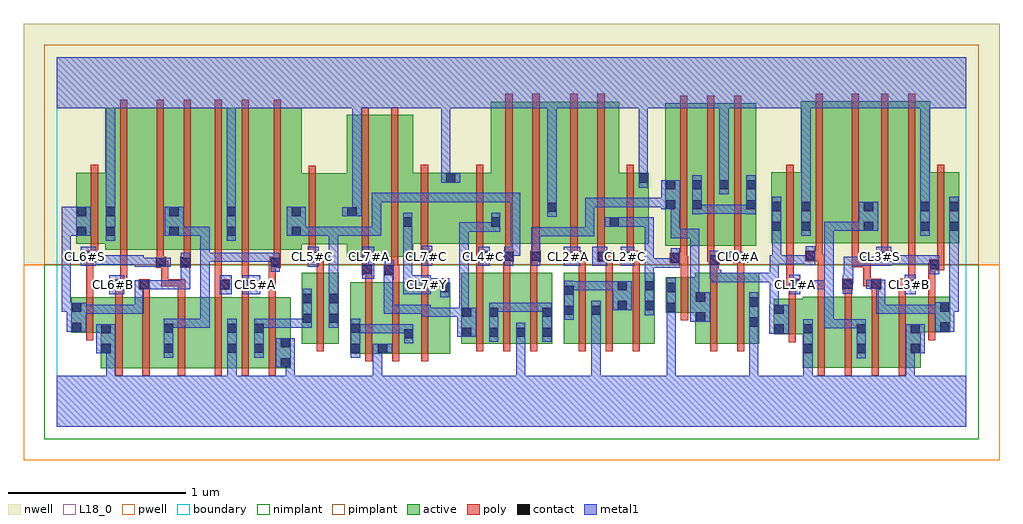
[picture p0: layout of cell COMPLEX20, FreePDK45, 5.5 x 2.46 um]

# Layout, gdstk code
import gdstk
lib = gdstk.Library(unit=1e-6, precision=1e-09)
def R(c, l, rs):  # rectangles x0, y0, x1, y1
    for r in rs: c.add(gdstk.rectangle(r[:2], r[2:], *l))
def A(c, l, x, y, w, h, nx, ny, dx, dy):  # array of equal rectangles
    R(c, l, [(x+i*dx, y+j*dy, x+i*dx+w, y+j*dy+h) for i in range(nx) for j in range(ny)])
active = (1, 0)
pwell = (2, 0)
nwell = (3, 0)
nimplant = (4, 0)
pimplant = (5, 0)
poly = (9, 0)
contact = (10, 0)
metal1 = (11, 0)
L18_0 = (18, 0)
boundary = (235, 0)

complex20 = lib.new_cell('COMPLEX20')
A(complex20, active, 2.278, 0.468, 0.06, 0.4, 3, 1, 0.152, 0)
R(complex20, active, [(0.246,0.33,0.306,0.73), (0.246,0.33,0.426,0.73), (0.426,0.33,0.658,0.73), (0.598,0.33,0.778,0.73), (0.778,0.33,1.016,0.73), (0.956,0.33,1.016,0.584), (0.956,0.33,1.168,0.73), (1.108,0.33,1.316,0.73), (1.256,0.33,1.316,0.73), (4.2,0.332,4.38,0.732), (4.2,0.332,4.26,0.72), (4.38,0.332,4.56,0.732), (4.5,0.332,4.684,0.732), (4.684,0.332,4.864,0.732), (4.804,0.332,4.864,0.732), (0.598,0.356,0.658,0.584), (1.108,0.356,1.168,0.584), (4.5,0.356,4.56,0.582), (1.652,0.412,1.712,0.812), (1.652,0.412,1.864,0.812), (1.804,0.412,2.012,0.812), (1.804,0.412,1.864,0.474), (1.952,0.412,2.214,0.812), (1.38,0.468,1.44,0.868), (1.38,0.468,1.588,0.868), (1.528,0.468,1.588,0.868), (1.952,0.468,2.012,0.554), (2.154,0.468,2.214,0.812), (2.278,0.468,2.49,0.868), (2.43,0.468,2.642,0.868), (2.582,0.468,2.79,0.868), (2.73,0.468,2.79,0.868), (2.854,0.468,2.914,0.868), (2.854,0.468,3.066,0.868), (3.006,0.468,3.066,0.868), (3.006,0.468,3.214,0.868), (3.154,0.468,3.214,0.868), (3.154,0.468,3.366,0.868), (3.306,0.468,3.366,0.868), (3.594,0.468,3.774,0.868), (3.774,0.468,3.954,0.868), (3.894,0.468,3.954,0.868), (4.036,0.52,4.096,0.72), (4.036,0.52,4.26,0.72), (0.08,0.53,0.14,0.73), (0.08,0.53,0.306,0.73), (4.804,0.532,5.03,0.732), (4.97,0.532,5.03,0.732), (3.594,0.588,3.654,0.842), (3.43,0.642,3.49,0.842), (3.43,0.642,3.654,0.842), (1.632,0.956,1.812,1.756), (1.812,0.956,2.006,1.756), (0.272,0.996,0.506,1.796), (0.506,0.996,0.69,1.796), (0.63,0.996,0.81,1.796), (0.63,0.996,0.69,1.724), (0.81,0.996,1.012,1.796), (0.952,0.996,1.164,1.796), (0.952,0.996,1.012,1.756), (1.164,0.996,1.378,1.796), (3.426,1.02,3.486,1.724), (3.426,1.02,3.634,1.82), (3.574,1.02,3.786,1.82), (3.726,1.02,3.938,1.82), (3.878,1.02,3.938,1.724), (1.318,1.026,1.692,1.426), (1.318,1.026,1.378,1.724), (1.632,1.026,1.692,1.356), (0.108,1.03,0.168,1.43), (0.108,1.03,0.332,1.43), (0.272,1.03,0.332,1.356), (1.946,1.03,2.006,1.62), (1.946,1.03,2.248,1.43), (2.188,1.03,2.248,1.43), (2.188,1.03,2.502,1.43), (2.442,1.03,2.622,1.83), (2.622,1.03,2.818,1.83), (2.758,1.03,2.988,1.83), (2.758,1.03,2.818,1.756), (2.988,1.03,3.168,1.83), (3.108,1.03,3.332,1.43), (3.108,1.03,3.168,1.62), (3.272,1.03,3.332,1.43), (4.024,1.032,4.248,1.432), (4.024,1.032,4.084,1.356), (4.188,1.032,4.248,1.356), (4.188,1.032,4.42,1.832), (4.42,1.032,4.6,1.832), (4.54,1.032,4.738,1.832), (4.54,1.032,4.6,1.724), (4.738,1.032,4.918,1.832), (4.858,1.032,5.082,1.432), (4.858,1.032,4.918,1.356), (5.022,1.032,5.082,1.432), (2.442,1.122,2.502,1.62), (3.574,1.206,3.634,1.724), (3.726,1.206,3.786,1.756)])
R(complex20, pwell, [(-0.188,-0.188,5.308,0.912)])
R(complex20, nwell, [(-0.188,0.912,5.308,2.268)])
R(complex20, nimplant, [(-0.072,-0.072,5.192,0.912)])
R(complex20, pimplant, [(-0.072,0.912,5.192,2.152)])
A(complex20, poly, 0.888, 0.286, 0.04, 0.488, 3, 1, 0.152, 0)
A(complex20, poly, 4.284, 0.288, 0.04, 0.488, 4, 1, 0.152, 0)
A(complex20, poly, 2.362, 0.424, 0.04, 0.488, 3, 1, 0.152, 0)
A(complex20, poly, 2.938, 0.424, 0.04, 0.488, 3, 1, 0.152, 0)
A(complex20, poly, 4.436, 0.736, 0.04, 0.076, 3, 1, 0.152, 0)
A(complex20, poly, 2.362, 0.872, 0.04, 0.098, 3, 1, 0.152, 0)
A(complex20, poly, 2.938, 0.872, 0.04, 0.098, 3, 1, 0.152, 0)
A(complex20, poly, 2.892, 0.93, 0.086, 0.06, 3, 1, 0.152, 0)
A(complex20, poly, 3.51, 0.976, 0.04, 0.888, 3, 1, 0.152, 0)
R(complex20, poly, [(0.33,0.286,0.37,0.774), (0.482,0.286,0.522,0.774), (0.682,0.286,0.722,0.774), (1.736,0.368,1.776,0.856), (1.888,0.368,1.928,0.856), (2.052,0.368,2.092,0.856), (1.464,0.424,1.504,0.912), (3.678,0.424,3.718,0.912), (3.83,0.424,3.87,0.912), (4.12,0.476,4.16,0.764), (0.166,0.486,0.206,0.774), (4.906,0.488,4.946,0.776), (3.514,0.598,3.554,0.886), (4.12,0.724,4.16,0.812), (0.166,0.734,0.206,0.97), (0.33,0.734,0.37,0.81), (0.482,0.734,0.522,0.81), (0.682,0.734,0.722,0.83), (0.888,0.734,0.928,0.81), (1.04,0.734,1.08,0.81), (1.192,0.734,1.232,0.936), (4.284,0.736,4.324,0.972), (4.906,0.736,4.946,0.922), (0.324,0.77,0.384,0.83), (0.462,0.77,0.522,0.83), (0.888,0.77,0.974,0.83), (1.04,0.77,1.1,0.83), (4.108,0.772,4.18,0.832), (4.422,0.772,4.482,0.832), (4.582,0.772,4.642,0.832), (4.74,0.772,4.83,0.832), (0.344,0.79,0.384,0.83), (0.344,0.79,0.396,0.83), (0.356,0.79,0.396,0.992), (0.588,0.79,0.628,0.83), (0.588,0.79,0.628,0.936), (0.588,0.79,0.722,0.83), (0.682,0.79,0.722,0.83), (0.888,0.79,0.928,0.83), (0.888,0.79,0.928,0.83), (0.888,0.79,0.928,0.992), (1.04,0.79,1.08,0.83), (1.04,0.79,1.08,0.83), (1.04,0.79,1.08,0.992), (4.108,0.792,4.148,0.832), (4.108,0.792,4.148,0.832), (4.108,0.792,4.148,1.028), (4.542,0.792,4.582,0.832), (4.542,0.792,4.622,0.832), (4.542,0.792,4.582,0.938), (4.79,0.792,4.83,0.832), (4.79,0.792,4.834,0.832), (4.794,0.792,4.834,1.028), (1.736,0.816,1.776,0.896), (1.888,0.816,1.928,0.892), (2.052,0.816,2.092,0.97), (3.514,0.846,3.554,0.96), (1.842,0.852,1.928,0.912), (1.716,0.856,1.776,0.916), (1.464,0.872,1.504,0.966), (1.882,0.872,1.922,0.912), (1.882,0.872,1.922,0.912), (1.882,0.872,1.922,0.952), (3.678,0.872,3.718,0.948), (3.83,0.872,3.87,0.96), (1.716,0.876,1.756,0.916), (1.716,0.876,1.756,0.916), (1.716,0.876,1.756,0.952), (4.906,0.882,4.952,0.922), (4.912,0.882,4.952,0.922), (4.912,0.882,4.998,0.942), (0.556,0.896,0.616,0.956), (0.576,0.896,0.628,0.936), (0.588,0.896,0.628,0.936), (0.694,0.896,0.754,0.956), (1.192,0.896,1.24,0.936), (1.2,0.896,1.24,0.936), (1.2,0.896,1.26,0.956), (4.476,0.898,4.516,0.938), (4.476,0.898,4.582,0.938), (4.476,0.898,4.516,1.028), (4.542,0.898,4.582,0.938), (4.958,0.902,4.998,1.028), (3.672,0.908,3.732,0.968), (1.716,0.912,1.756,1.8), (1.882,0.912,1.922,1.8), (0.562,0.916,0.602,0.992), (0.714,0.916,0.754,0.992), (1.22,0.916,1.26,0.992), (3.452,0.92,3.55,0.98), (3.51,0.92,3.55,0.96), (3.51,0.92,3.554,0.96), (3.81,0.92,3.87,0.98), (3.83,0.92,3.87,0.96), (3.83,0.92,3.87,0.96), (1.418,0.926,1.478,0.986), (1.438,0.926,1.478,0.966), (1.438,0.926,1.504,0.966), (3.662,0.928,3.702,1.016), (3.662,0.928,3.712,0.968), (3.672,0.928,3.712,0.968), (0.166,0.93,0.206,0.97), (0.166,0.93,0.206,0.97), (0.166,0.93,0.232,0.99), (2.05,0.93,2.11,0.99), (2.052,0.93,2.092,0.97), (2.052,0.93,2.092,0.97), (2.362,0.93,2.43,0.99), (2.514,0.93,2.554,0.97), (2.514,0.93,2.554,0.97), (2.514,0.93,2.574,0.99), (2.666,0.93,2.706,0.97), (2.666,0.93,2.706,0.97), (2.666,0.93,2.726,0.99), (4.642,0.93,4.702,0.99), (4.214,0.932,4.312,0.992), (4.272,0.932,4.312,0.972), (4.272,0.932,4.324,0.972), (3.51,0.94,3.55,1.016), (3.814,0.94,3.854,1.016), (1.418,0.946,1.458,1.022), (0.192,0.95,0.232,1.026), (2.05,0.95,2.09,1.026), (2.362,0.95,2.402,0.99), (2.362,0.95,2.402,0.99), (2.362,0.95,2.402,1.026), (2.526,0.95,2.566,1.026), (2.678,0.95,2.718,1.026), (2.892,0.95,2.932,0.99), (2.892,0.95,2.932,0.99), (2.892,0.95,2.932,1.026), (3.044,0.95,3.084,0.99), (3.044,0.95,3.084,0.99), (3.044,0.95,3.084,1.026), (3.208,0.95,3.248,0.99), (3.208,0.95,3.248,0.99), (3.208,0.95,3.248,1.026), (4.642,0.95,4.682,1.028), (0.356,0.952,0.396,1.84), (0.562,0.952,0.602,1.84), (0.714,0.952,0.754,1.84), (0.888,0.952,0.928,1.84), (1.04,0.952,1.08,1.84), (1.22,0.952,1.26,1.84), (4.272,0.952,4.312,1.028), (1.418,0.982,1.458,1.47), (0.192,0.986,0.232,1.474), (2.05,0.986,2.09,1.474), (2.362,0.986,2.402,1.474), (2.526,0.986,2.566,1.874), (2.678,0.986,2.718,1.874), (2.892,0.986,2.932,1.874), (3.044,0.986,3.084,1.874), (3.208,0.986,3.248,1.474), (4.108,0.988,4.148,1.476), (4.272,0.988,4.312,1.876), (4.476,0.988,4.516,1.876), (4.642,0.988,4.682,1.876), (4.794,0.988,4.834,1.876), (4.958,0.988,4.998,1.476)])
A(complex20, contact, 2.282, 0.506, 0.052, 0.052, 3, 1, 0.152, 0)
A(complex20, contact, 2.896, 0.934, 0.052, 0.052, 3, 1, 0.152, 0)
A(complex20, contact, 3.578, 1.336, 0.052, 0.052, 3, 1, 0.152, 0)
R(complex20, contact, [(1.26,0.334,1.312,0.386), (0.25,0.414,0.302,0.466), (4.204,0.414,4.256,0.466), (4.504,0.414,4.556,0.466), (4.808,0.414,4.86,0.466), (0.602,0.416,0.654,0.468), (0.96,0.416,1.012,0.468), (1.112,0.416,1.164,0.468), (1.656,0.416,1.708,0.468), (1.808,0.416,1.86,0.468), (1.26,0.446,1.312,0.498), (1.956,0.498,2.008,0.55), (2.734,0.506,2.786,0.558), (4.04,0.524,4.092,0.576), (0.25,0.526,0.302,0.578), (4.204,0.526,4.256,0.578), (4.504,0.526,4.556,0.578), (4.808,0.526,4.86,0.578), (0.602,0.528,0.654,0.58), (0.96,0.528,1.012,0.58), (1.112,0.528,1.164,0.58), (1.656,0.528,1.708,0.58), (0.084,0.534,0.136,0.586), (4.974,0.536,5.026,0.588), (3.898,0.564,3.95,0.616), (1.384,0.584,1.436,0.636), (1.532,0.584,1.584,0.636), (3.598,0.592,3.65,0.644), (2.282,0.618,2.334,0.67), (2.434,0.618,2.486,0.67), (2.734,0.618,2.786,0.67), (2.858,0.63,2.91,0.682), (3.01,0.63,3.062,0.682), (4.04,0.636,4.092,0.688), (0.084,0.646,0.136,0.698), (3.434,0.646,3.486,0.698), (4.974,0.648,5.026,0.7), (3.158,0.656,3.21,0.708), (3.31,0.656,3.362,0.708), (3.898,0.676,3.95,0.728), (1.384,0.696,1.436,0.748), (1.532,0.696,1.584,0.748), (3.598,0.704,3.65,0.756), (2.858,0.742,2.91,0.794), (2.158,0.756,2.21,0.808), (3.434,0.758,3.486,0.81), (3.158,0.768,3.21,0.82), (3.31,0.768,3.362,0.82), (0.328,0.774,0.38,0.826), (0.466,0.774,0.518,0.826), (0.918,0.774,0.97,0.826), (1.044,0.774,1.096,0.826), (4.124,0.776,4.176,0.828), (4.426,0.776,4.478,0.828), (4.586,0.776,4.638,0.828), (4.774,0.776,4.826,0.828), (1.846,0.856,1.898,0.908), (1.72,0.86,1.772,0.912), (4.916,0.886,4.968,0.938), (0.56,0.9,0.612,0.952), (0.698,0.9,0.75,0.952), (1.204,0.9,1.256,0.952), (3.676,0.912,3.728,0.964), (3.456,0.924,3.508,0.976), (3.814,0.924,3.866,0.976), (1.422,0.93,1.474,0.982), (0.17,0.934,0.222,0.986), (2.054,0.934,2.106,0.986), (2.374,0.934,2.426,0.986), (2.518,0.934,2.57,0.986), (2.67,0.934,2.722,0.986), (4.646,0.934,4.698,0.986), (4.218,0.936,4.27,0.988), (0.112,1.074,0.164,1.126), (0.276,1.074,0.328,1.126), (0.634,1.074,0.686,1.126), (0.956,1.074,1.008,1.126), (1.322,1.074,1.374,1.126), (4.028,1.102,4.08,1.154), (4.192,1.102,4.244,1.154), (4.544,1.102,4.596,1.154), (4.862,1.102,4.914,1.154), (5.026,1.102,5.078,1.154), (1.95,1.126,2.002,1.178), (2.446,1.126,2.498,1.178), (3.112,1.126,3.164,1.178), (1.636,1.184,1.688,1.236), (0.112,1.186,0.164,1.238), (0.276,1.186,0.328,1.238), (0.634,1.186,0.686,1.238), (0.956,1.186,1.008,1.238), (1.322,1.186,1.374,1.238), (2.762,1.21,2.814,1.262), (4.028,1.214,4.08,1.266), (4.192,1.214,4.244,1.266), (4.544,1.214,4.596,1.266), (4.862,1.214,4.914,1.266), (5.026,1.214,5.078,1.266), (3.43,1.224,3.482,1.276), (3.578,1.224,3.63,1.276), (3.882,1.224,3.934,1.276), (3.43,1.336,3.482,1.388), (2.192,1.374,2.244,1.426), (3.276,1.374,3.328,1.426)])
R(complex20, metal1, [(0,0,5.12,0.288), (0.278,0.236,0.33,0.466), (0.96,0.236,1.012,0.44), (1.288,0.236,1.34,0.288), (1.288,0.236,1.34,0.288), (1.288,0.236,1.34,0.386), (1.78,0.236,1.832,0.468), (2.586,0.236,2.638,0.53), (3.01,0.236,3.062,0.288), (3.01,0.236,3.062,0.288), (3.01,0.236,3.062,0.654), (3.434,0.236,3.486,0.288), (3.434,0.236,3.486,0.288), (3.434,0.236,3.486,0.288), (3.434,0.236,3.486,0.288), (3.434,0.236,3.486,0.288), (3.434,0.236,3.486,0.288), (3.434,0.236,3.486,0.67), (3.898,0.236,3.95,0.588), (4.204,0.236,4.256,0.288), (4.204,0.236,4.256,0.288), (4.204,0.236,4.256,0.438), (4.78,0.236,4.832,0.466), (1.232,0.334,1.34,0.498), (4.204,0.386,4.256,0.606), (4.504,0.386,4.556,0.606), (0.602,0.388,0.654,0.608), (0.96,0.388,1.012,0.44), (0.96,0.388,1.012,0.44), (0.96,0.388,1.012,0.608), (1.112,0.388,1.164,0.608), (1.656,0.388,1.708,0.608), (0.222,0.414,0.33,0.578), (0.278,0.414,0.33,0.466), (0.278,0.414,0.33,0.466), (4.78,0.414,4.832,0.466), (4.78,0.414,4.832,0.466), (4.78,0.414,4.888,0.578), (1.78,0.416,1.832,0.468), (1.78,0.416,1.832,0.468), (1.78,0.416,1.888,0.468), (1.956,0.47,2.008,0.578), (2.434,0.478,2.486,0.698), (2.586,0.478,2.638,0.53), (2.586,0.478,2.638,0.53), (2.586,0.478,2.638,0.586), (2.734,0.478,2.786,0.698), (2.254,0.506,2.362,0.67), (4.012,0.524,4.12,0.688), (1.656,0.526,1.708,0.578), (1.656,0.526,1.708,0.578), (1.656,0.526,1.892,0.578), (1.84,0.526,1.892,0.578), (1.84,0.526,1.896,0.578), (1.844,0.526,1.896,0.578), (1.844,0.526,2.008,0.578), (0.056,0.534,0.164,0.698), (3.898,0.536,3.95,0.588), (3.898,0.536,3.95,0.588), (3.898,0.536,3.95,0.756), (4.946,0.536,5.054,0.7), (4.322,0.554,4.374,0.606), (4.322,0.554,4.5,0.606), (4.322,0.554,4.374,0.826), (4.448,0.554,4.5,0.606), (4.448,0.554,4.556,0.606), (0.602,0.556,0.86,0.608), (0.808,0.556,0.86,0.608), (0.808,0.556,0.86,0.608), (0.808,0.556,0.86,0.608), (0.808,0.556,0.86,0.98), (1.112,0.556,1.206,0.608), (1.154,0.556,1.206,0.608), (1.154,0.556,1.274,0.608), (1.222,0.556,1.274,0.608), (1.222,0.556,1.436,0.608), (1.384,0.556,1.436,0.776), (1.532,0.556,1.584,0.776), (3.566,0.592,3.678,0.756), (2.858,0.602,2.91,0.822), (3.01,0.602,3.062,0.71), (2.054,0.618,2.106,0.688), (2.054,0.618,2.306,0.67), (2.254,0.618,2.306,0.67), (2.254,0.618,2.306,0.67), (2.266,0.618,2.318,1.15), (3.434,0.618,3.486,0.838), (3.31,0.628,3.362,0.848), (0.112,0.636,0.164,0.688), (0.112,0.636,0.164,0.688), (0.112,0.636,0.332,0.688), (0.28,0.636,0.332,0.688), (0.28,0.636,0.332,0.688), (0.28,0.636,0.332,0.688), (0.28,0.636,0.49,0.688), (0.438,0.636,0.49,0.688), (0.438,0.636,0.49,0.826), (1.842,0.636,1.894,0.688), (1.842,0.636,1.896,0.688), (1.842,0.636,1.894,0.88), (1.844,0.636,1.896,0.688), (1.844,0.636,2.1,0.688), (2.048,0.636,2.1,0.688), (2.048,0.636,2.1,0.688), (2.048,0.636,2.1,0.688), (2.048,0.636,2.106,0.688), (4.014,0.636,4.066,0.866), (4.614,0.636,4.666,0.688), (4.614,0.636,4.858,0.688), (4.614,0.636,4.666,0.828), (4.806,0.636,4.858,0.688), (4.806,0.636,4.858,0.688), (4.806,0.636,4.858,0.688), (4.806,0.636,4.998,0.688), (4.946,0.636,4.998,0.688), (4.946,0.636,4.998,0.688), (0.026,0.646,0.078,1.126), (0.026,0.646,0.108,0.698), (0.056,0.646,0.108,0.698), (2.434,0.646,2.612,0.698), (2.56,0.646,2.612,0.698), (2.56,0.646,2.612,0.698), (2.56,0.646,2.612,0.698), (2.56,0.646,2.786,0.698), (2.734,0.646,2.786,0.698), (2.734,0.646,2.786,0.698), (5.002,0.648,5.054,0.7), (5.002,0.648,5.078,0.7), (5.026,0.648,5.078,1.126), (3.13,0.656,3.238,0.82), (3.566,0.704,3.618,1.114), (1.532,0.724,1.584,0.776), (1.532,0.724,1.584,0.776), (1.532,0.724,1.584,1.126), (2.158,0.728,2.21,0.836), (0.294,0.746,0.38,0.854), (0.918,0.746,0.986,0.854), (1.044,0.746,1.146,0.854), (1.95,0.746,2.106,0.854), (4.124,0.746,4.186,0.856), (4.774,0.746,4.836,0.856), (4.426,0.748,4.478,0.856), (2.858,0.768,2.91,0.82), (2.858,0.768,2.91,0.82), (2.858,0.768,3.02,0.82), (2.968,0.768,3.02,0.82), (2.968,0.768,3.02,0.82), (2.968,0.768,3.02,0.82), (2.968,0.768,3.182,0.82), (0.438,0.774,0.49,0.826), (0.438,0.774,0.49,0.826), (0.438,0.774,0.546,0.826), (0.494,0.774,0.75,0.826), (0.698,0.774,0.75,0.826), (0.698,0.774,0.75,0.924), (4.266,0.774,4.374,0.826), (4.322,0.774,4.374,0.826), (4.322,0.774,4.374,0.826), (4.322,0.774,4.374,1.154), (4.558,0.776,4.666,0.828), (4.614,0.776,4.666,0.828), (4.614,0.776,4.666,0.828), (2.054,0.784,2.106,0.836), (2.054,0.784,2.106,0.836), (2.054,0.784,2.21,0.836), (2.158,0.784,2.21,0.836), (2.158,0.784,2.21,0.836), (3.31,0.796,3.362,0.848), (3.31,0.796,3.362,0.848), (3.31,0.796,3.362,0.948), (1.95,0.802,2.002,0.854), (1.95,0.802,2.002,0.854), (1.95,0.802,2.002,1.15), (4.426,0.804,4.484,0.856), (4.432,0.804,4.484,0.856), (4.432,0.804,4.484,0.958), (3.688,0.814,3.954,0.866), (3.688,0.814,3.74,0.884), (3.902,0.814,3.954,0.866), (3.902,0.814,3.954,0.866), (3.902,0.814,3.954,0.866), (3.902,0.814,4.066,0.866), (4.014,0.814,4.066,0.866), (4.014,0.814,4.066,0.966), (1.842,0.828,1.894,0.88), (1.842,0.828,1.898,0.88), (1.846,0.828,1.898,0.936), (1.72,0.832,1.786,1.014), (3.676,0.832,3.74,0.884), (3.676,0.832,3.728,0.992), (4.916,0.858,4.968,0.966), (0.698,0.872,0.75,0.924), (0.698,0.872,0.75,0.924), (0.698,0.872,0.75,0.98), (1.204,0.872,1.256,0.98), (3.31,0.896,3.362,0.948), (3.31,0.896,3.508,0.948), (3.31,0.896,3.362,1.178), (3.456,0.896,3.508,0.948), (3.456,0.896,3.508,0.948), (3.456,0.896,3.508,1.004), (0.438,0.9,0.584,0.952), (0.438,0.9,0.49,0.964), (0.532,0.9,0.64,0.952), (1.414,0.902,1.474,1.014), (0.134,0.906,0.222,1.014), (2.054,0.906,2.114,1.018), (2.374,0.906,2.438,1.014), (2.518,0.906,2.57,1.014), (2.67,0.906,2.722,1.014), (2.854,0.906,2.948,1.014), (3.014,0.906,3.1,1.014), (3.174,0.906,3.252,1.014), (4.432,0.906,4.484,0.958), (4.432,0.906,4.666,0.958), (4.614,0.906,4.698,1.014), (4.218,0.908,4.27,1.016), (0.17,0.912,0.38,0.964), (0.328,0.912,0.38,0.964), (0.328,0.912,0.38,0.964), (0.328,0.912,0.38,0.964), (0.328,0.912,0.49,0.964), (4.014,0.914,4.08,0.966), (4.028,0.914,4.08,0.966), (4.028,0.914,4.08,0.966), (4.028,0.914,4.19,0.966), (4.028,0.914,4.08,1.126), (4.138,0.914,4.19,0.966), (4.138,0.914,4.27,0.966), (4.646,0.914,4.698,0.966), (4.646,0.914,4.698,0.966), (4.646,0.914,4.808,0.966), (4.756,0.914,4.808,0.966), (4.756,0.914,4.808,0.966), (4.756,0.914,4.808,0.966), (4.756,0.914,4.968,0.966), (3.786,0.924,3.894,0.986), (0.808,0.928,0.86,0.98), (0.808,0.928,0.86,0.98), (0.808,0.928,0.86,0.98), (0.808,0.928,0.986,0.98), (0.808,0.928,0.86,1.126), (0.934,0.928,0.986,0.98), (0.934,0.928,0.986,0.98), (0.934,0.928,0.986,0.98), (0.934,0.928,1.096,0.98), (1.044,0.928,1.096,0.98), (1.044,0.928,1.096,0.98), (1.044,0.928,1.096,0.98), (1.044,0.928,1.256,0.98), (2.518,0.962,2.608,1.014), (2.556,0.962,2.608,1.014), (2.556,0.962,2.608,1.316), (2.67,0.962,2.722,1.014), (2.67,0.962,2.722,1.124), (0.276,1.046,0.328,1.266), (0.956,1.046,1.008,1.266), (3.456,1.062,3.508,1.114), (3.456,1.062,3.508,1.114), (3.456,1.062,3.508,1.114), (3.456,1.062,3.618,1.114), (3.456,1.062,3.508,1.276), (3.566,1.062,3.618,1.114), (3.566,1.062,3.618,1.114), (3.566,1.062,3.618,1.114), (3.566,1.062,3.618,1.114), (3.566,1.062,3.618,1.114), (2.67,1.072,2.91,1.124), (2.858,1.072,2.91,1.124), (2.858,1.072,2.91,1.124), (2.858,1.072,2.91,1.124), (2.858,1.072,3.026,1.124), (2.974,1.072,3.026,1.124), (2.974,1.072,3.026,1.124), (2.974,1.072,3.026,1.124), (2.974,1.072,3.026,1.288), (0.026,1.074,0.078,1.126), (0.026,1.074,0.078,1.126), (0.026,1.074,0.192,1.238), (0.606,1.074,0.714,1.238), (0.662,1.074,0.86,1.126), (0.808,1.074,0.86,1.126), (0.808,1.074,0.86,1.126), (0.808,1.074,0.86,1.126), (1.294,1.074,1.402,1.238), (1.35,1.074,1.402,1.126), (1.35,1.074,1.402,1.126), (1.35,1.074,1.584,1.126), (1.532,1.074,1.584,1.126), (1.532,1.074,1.584,1.126), (1.532,1.074,1.584,1.126), (1.532,1.074,1.584,1.126), (1.532,1.074,1.584,1.126), (1.532,1.074,1.722,1.126), (1.67,1.074,1.722,1.126), (1.67,1.074,1.826,1.126), (1.774,1.074,1.826,1.126), (1.774,1.074,1.826,1.316), (4.028,1.074,4.08,1.294), (4.192,1.074,4.244,1.294), (4.862,1.074,4.914,1.294), (5.026,1.074,5.078,1.126), (5.026,1.074,5.078,1.126), (5.026,1.074,5.078,1.294), (1.95,1.098,2.002,1.206), (2.266,1.098,2.318,1.15), (2.266,1.098,2.318,1.15), (2.266,1.098,2.318,1.15), (2.266,1.098,2.318,1.15), (2.266,1.098,2.318,1.15), (2.266,1.098,2.318,1.15), (2.266,1.098,2.318,1.15), (2.266,1.098,2.416,1.15), (2.364,1.098,2.416,1.15), (2.364,1.098,2.498,1.15), (2.446,1.098,2.498,1.206), (4.322,1.102,4.374,1.154), (4.322,1.102,4.5,1.154), (4.448,1.102,4.5,1.154), (4.448,1.102,4.568,1.154), (4.516,1.102,4.624,1.266), (3.084,1.126,3.192,1.178), (3.14,1.126,3.192,1.178), (3.14,1.126,3.192,1.178), (3.14,1.126,3.362,1.178), (3.31,1.126,3.362,1.178), (2.762,1.182,2.814,1.29), (1.608,1.184,1.716,1.236), (1.664,1.184,1.716,1.844), (3.578,1.196,3.63,1.416), (3.882,1.196,3.934,1.416), (3.578,1.198,3.728,1.25), (3.676,1.198,3.728,1.25), (3.676,1.198,3.74,1.25), (3.688,1.198,3.74,1.25), (3.688,1.198,3.74,1.25), (3.688,1.198,3.74,1.25), (3.688,1.198,3.934,1.25), (3.882,1.198,3.934,1.25), (3.882,1.198,3.934,1.25), (0.276,1.214,0.328,1.844), (0.956,1.214,1.008,1.844), (3.402,1.224,3.51,1.388), (2.974,1.236,3.026,1.288), (2.974,1.236,3.026,1.288), (2.974,1.236,3.026,1.288), (2.974,1.236,3.218,1.288), (3.166,1.236,3.218,1.288), (3.166,1.236,3.218,1.288), (3.166,1.236,3.218,1.288), (3.166,1.236,3.398,1.288), (3.346,1.236,3.398,1.288), (3.346,1.236,3.454,1.288), (2.762,1.238,2.814,1.844), (4.192,1.242,4.244,1.844), (4.862,1.242,4.914,1.844), (1.774,1.264,1.826,1.316), (1.774,1.264,1.99,1.316), (1.938,1.264,1.99,1.316), (1.938,1.264,2.1,1.316), (2.048,1.264,2.1,1.316), (2.048,1.264,2.1,1.316), (2.048,1.264,2.1,1.316), (2.048,1.264,2.216,1.316), (2.164,1.264,2.216,1.316), (2.164,1.264,2.216,1.316), (2.164,1.264,2.216,1.316), (2.164,1.264,2.428,1.316), (2.376,1.264,2.428,1.316), (2.376,1.264,2.428,1.316), (2.376,1.264,2.428,1.316), (2.376,1.264,2.608,1.316), (2.556,1.264,2.608,1.316), (2.556,1.264,2.608,1.316), (2.556,1.264,2.608,1.316), (2.556,1.264,2.608,1.316), (2.556,1.264,2.608,1.316), (3.73,1.308,3.782,1.416), (3.276,1.346,3.328,1.454), (3.73,1.364,3.782,1.844), (2.164,1.374,2.216,1.426), (2.164,1.374,2.216,1.426), (2.164,1.374,2.216,1.426), (2.164,1.374,2.216,1.426), (2.164,1.374,2.272,1.426), (2.164,1.374,2.216,1.844), (3.276,1.402,3.328,1.454), (3.276,1.402,3.328,1.454), (3.276,1.402,3.328,1.454), (3.276,1.402,3.328,1.454), (3.276,1.402,3.328,1.454), (3.276,1.402,3.328,1.454), (3.276,1.402,3.328,1.844), (0,1.792,5.12,2.08), (2.164,1.792,2.216,1.844), (2.164,1.792,2.216,1.844), (2.164,1.792,2.216,1.844), (2.164,1.792,2.216,1.844), (3.276,1.792,3.328,1.844), (3.276,1.792,3.328,1.844)])
A(complex20, L18_0, 1.414, 0.934, 0.052, 0.052, 4, 1, 0.32, 0)
A(complex20, L18_0, 2.854, 0.934, 0.052, 0.052, 3, 1, 0.16, 0)
R(complex20, L18_0, [(0,0,5.12,0.288), (0.278,0.236,0.33,0.466), (0.96,0.236,1.012,0.44), (1.288,0.236,1.34,0.288), (1.288,0.236,1.34,0.288), (1.288,0.236,1.34,0.386), (1.78,0.236,1.832,0.468), (2.586,0.236,2.638,0.53), (3.01,0.236,3.062,0.288), (3.01,0.236,3.062,0.288), (3.01,0.236,3.062,0.654), (3.434,0.236,3.486,0.288), (3.434,0.236,3.486,0.288), (3.434,0.236,3.486,0.288), (3.434,0.236,3.486,0.288), (3.434,0.236,3.486,0.288), (3.434,0.236,3.486,0.288), (3.434,0.236,3.486,0.67), (3.898,0.236,3.95,0.588), (4.204,0.236,4.256,0.288), (4.204,0.236,4.256,0.288), (4.204,0.236,4.256,0.438), (4.78,0.236,4.832,0.466), (1.232,0.334,1.34,0.498), (4.204,0.386,4.256,0.606), (4.504,0.386,4.556,0.606), (0.96,0.388,1.012,0.44), (0.96,0.388,1.012,0.44), (0.96,0.388,1.012,0.608), (0.222,0.414,0.33,0.578), (0.278,0.414,0.33,0.466), (0.278,0.414,0.33,0.466), (4.78,0.414,4.832,0.466), (4.78,0.414,4.832,0.466), (4.78,0.414,4.888,0.578), (1.78,0.416,1.832,0.468), (1.78,0.416,1.832,0.468), (1.78,0.416,1.888,0.468), (2.586,0.478,2.638,0.53), (2.586,0.478,2.638,0.53), (2.586,0.478,2.638,0.586), (3.898,0.536,3.95,0.588), (3.898,0.536,3.95,0.588), (3.898,0.536,3.95,0.756), (4.322,0.554,4.374,0.606), (4.322,0.554,4.374,0.826), (4.322,0.554,4.5,0.606), (4.448,0.554,4.5,0.606), (4.448,0.554,4.556,0.606), (3.01,0.602,3.062,0.71), (3.434,0.618,3.486,0.838), (2.158,0.728,2.21,0.836), (0.294,0.746,0.38,0.854), (0.918,0.746,0.986,0.854), (1.044,0.746,1.146,0.854), (1.95,0.746,2.106,0.854), (4.124,0.746,4.186,0.856), (4.774,0.746,4.836,0.856), (4.426,0.748,4.478,0.856), (0.294,0.774,0.346,0.826), (0.934,0.774,0.986,0.826), (1.094,0.774,1.146,0.826), (2.054,0.774,2.106,0.826), (4.134,0.774,4.186,0.826), (4.266,0.774,4.374,0.826), (4.294,0.774,4.346,0.826), (4.322,0.774,4.374,0.826), (4.322,0.774,4.374,0.826), (4.322,0.774,4.374,1.154), (4.774,0.774,4.826,0.826), (2.054,0.784,2.106,0.836), (2.054,0.784,2.106,0.836), (2.054,0.784,2.21,0.836), (2.158,0.784,2.21,0.836), (2.158,0.784,2.21,0.836), (1.95,0.802,2.002,0.854), (1.95,0.802,2.002,0.854), (1.95,0.802,2.002,1.15), (4.426,0.804,4.484,0.856), (4.432,0.804,4.484,0.856), (4.432,0.804,4.484,0.958), (1.72,0.832,1.786,1.014), (4.916,0.858,4.968,0.966), (0.438,0.9,0.49,0.964), (0.438,0.9,0.584,0.952), (0.532,0.9,0.64,0.952), (1.414,0.902,1.474,1.014), (0.134,0.906,0.222,1.014), (2.054,0.906,2.114,1.018), (2.374,0.906,2.438,1.014), (2.854,0.906,2.948,1.014), (3.014,0.906,3.1,1.014), (3.174,0.906,3.252,1.014), (4.432,0.906,4.484,0.958), (4.432,0.906,4.666,0.958), (4.614,0.906,4.698,1.014), (0.17,0.912,0.38,0.964), (0.328,0.912,0.38,0.964), (0.328,0.912,0.38,0.964), (0.328,0.912,0.38,0.964), (0.328,0.912,0.49,0.964), (4.646,0.914,4.698,0.966), (4.646,0.914,4.698,0.966), (4.646,0.914,4.808,0.966), (4.756,0.914,4.808,0.966), (4.756,0.914,4.808,0.966), (4.756,0.914,4.808,0.966), (4.756,0.914,4.968,0.966), (3.786,0.924,3.894,0.986), (0.134,0.934,0.186,0.986), (3.814,0.934,3.866,0.986), (4.614,0.934,4.666,0.986), (0.276,1.046,0.328,1.266), (0.956,1.046,1.008,1.266), (4.192,1.074,4.244,1.294), (4.862,1.074,4.914,1.294), (1.95,1.098,2.002,1.206), (4.322,1.102,4.374,1.154), (4.322,1.102,4.5,1.154), (4.448,1.102,4.5,1.154), (4.448,1.102,4.568,1.154), (4.516,1.102,4.624,1.266), (2.762,1.182,2.814,1.29), (1.608,1.184,1.716,1.236), (1.664,1.184,1.716,1.844), (0.276,1.214,0.328,1.844), (0.956,1.214,1.008,1.844), (2.762,1.238,2.814,1.844), (4.192,1.242,4.244,1.844), (4.862,1.242,4.914,1.844), (3.73,1.308,3.782,1.416), (3.276,1.346,3.328,1.454), (3.73,1.364,3.782,1.844), (2.164,1.374,2.216,1.426), (2.164,1.374,2.216,1.426), (2.164,1.374,2.216,1.426), (2.164,1.374,2.216,1.426), (2.164,1.374,2.272,1.426), (2.164,1.374,2.216,1.844), (3.276,1.402,3.328,1.454), (3.276,1.402,3.328,1.454), (3.276,1.402,3.328,1.454), (3.276,1.402,3.328,1.454), (3.276,1.402,3.328,1.454), (3.276,1.402,3.328,1.454), (3.276,1.402,3.328,1.844), (0,1.792,5.12,2.08), (2.164,1.792,2.216,1.844), (2.164,1.792,2.216,1.844), (2.164,1.792,2.216,1.844), (2.164,1.792,2.216,1.844), (3.276,1.792,3.328,1.844), (3.276,1.792,3.328,1.844)])
R(complex20, boundary, [(0,0,5.12,2.08)])
complex20.add(gdstk.Label('CL0#A', (3.84,0.96), layer=11, texttype=0))
complex20.add(gdstk.Label('CL1#A', (4.16,0.8), layer=11, texttype=0))
complex20.add(gdstk.Label('CL2#A', (2.88,0.96), layer=11, texttype=0))
complex20.add(gdstk.Label('CL2#B', (3.04,0.96), layer=11, texttype=0))
complex20.add(gdstk.Label('CL2#C', (3.2,0.96), layer=11, texttype=0))
complex20.add(gdstk.Label('CL3#B', (4.8,0.8), layer=11, texttype=0))
complex20.add(gdstk.Label('CL3#S', (4.64,0.96), layer=11, texttype=0))
complex20.add(gdstk.Label('CL3#Y', (4.32,0.8), layer=11, texttype=0))
complex20.add(gdstk.Label('CL4#C', (2.4,0.96), layer=11, texttype=0))
complex20.add(gdstk.Label('CL5#A', (1.12,0.8), layer=11, texttype=0))
complex20.add(gdstk.Label('CL5#C', (1.44,0.96), layer=11, texttype=0))
complex20.add(gdstk.Label('CL6#A', (0.96,0.8), layer=11, texttype=0))
complex20.add(gdstk.Label('CL6#B', (0.32,0.8), layer=11, texttype=0))
complex20.add(gdstk.Label('CL6#S', (0.16,0.96), layer=11, texttype=0))
complex20.add(gdstk.Label('CL7#A', (1.76,0.96), layer=11, texttype=0))
complex20.add(gdstk.Label('CL7#C', (2.08,0.96), layer=11, texttype=0))
complex20.add(gdstk.Label('CL7#Y', (2.08,0.8), layer=11, texttype=0))

lib.write_gds('COMPLEX20.gds')
